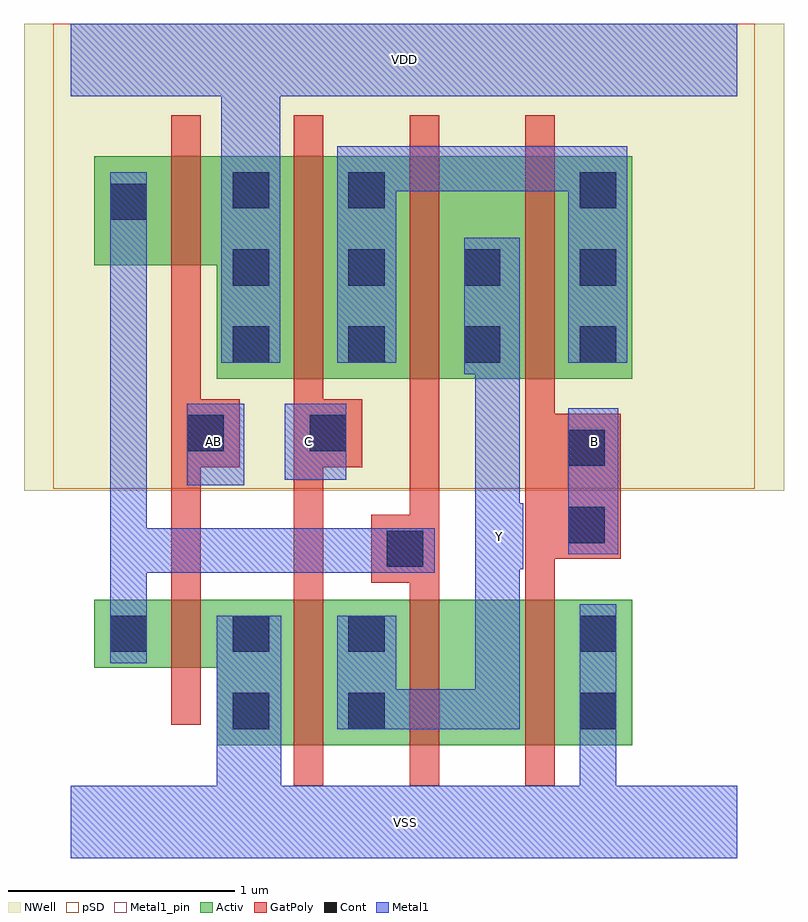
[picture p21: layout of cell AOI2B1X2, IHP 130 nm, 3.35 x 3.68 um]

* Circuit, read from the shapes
.subckt AOI2B1X2 AB B C VDD VSS Y
XM1 VSS AB n1 VSUBS sg13_lv_nmos w=0.3u l=0.13u
XM2 Y C VSS VSUBS sg13_lv_nmos w=0.64u l=0.13u
XM3 n2 n1 Y VSUBS sg13_lv_nmos w=0.64u l=0.13u
XM4 VSS B n2 VSUBS sg13_lv_nmos w=0.64u l=0.13u
XM5 VDD AB n1 n3 sg13_lv_pmos w=0.48u l=0.13u
XM6 n4 C VDD n3 sg13_lv_pmos w=0.98u l=0.13u
XM7 Y n1 n4 n3 sg13_lv_pmos w=0.98u l=0.13u
XM8 n4 B Y n3 sg13_lv_pmos w=0.98u l=0.13u
.ends

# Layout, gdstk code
import gdstk
lib = gdstk.Library(unit=1e-6, precision=1e-09)
def R(c, l, rs):  # rectangles x0, y0, x1, y1
    for r in rs: c.add(gdstk.rectangle(r[:2], r[2:], *l))
def A(c, l, x, y, w, h, nx, ny, dx, dy):  # array of equal rectangles
    R(c, l, [(x+i*dx, y+j*dy, x+i*dx+w, y+j*dy+h) for i in range(nx) for j in range(ny)])
def P(c, l, *ps):  # polygons
    for p in ps: c.add(gdstk.Polygon(p, *l))
Activ = (1, 0)
GatPoly = (5, 0)
Cont = (6, 0)
Metal1 = (8, 0)
Metal1_pin = (8, 2)
pSD = (14, 0)
NWell = (31, 0)

aoi2b1x2 = lib.new_cell('AOI2B1X2')
P(aoi2b1x2, Activ, [(0.645,0.34),(0.645,0.68),(0.105,0.68),(0.105,0.98),(2.475,0.98),(2.475,0.34)],
  [(0.645,1.955),(0.645,2.455),(0.105,2.455),(0.105,2.935),(2.475,2.935),(2.475,1.955)])
P(aoi2b1x2, GatPoly, [(2.005,0.16),(2.005,3.115),(2.135,3.115),(2.135,1.8),(2.425,1.8),(2.425,1.16),(2.135,1.16),(2.135,0.16)],
  [(0.985,0.16),(0.985,3.115),(1.115,3.115),(1.115,1.865),(1.285,1.865),(1.285,1.565),(1.115,1.565),(1.115,0.16)],
  [(0.445,0.43),(0.445,3.115),(0.575,3.115),(0.575,1.865),(0.745,1.865),(0.745,1.565),(0.575,1.565),(0.575,0.43)],
  [(1.495,0.16),(1.495,1.055),(1.325,1.055),(1.325,1.355),(1.495,1.355),(1.495,3.115),(1.625,3.115),(1.625,0.16)])
A(aoi2b1x2, Cont, 0.715, 2.025, 0.16, 0.16, 4, 2, 0.51, 0.34)
R(aoi2b1x2, Cont, [(0.715,0.41,0.875,0.57), (1.225,0.41,1.385,0.57), (2.245,0.41,2.405,0.57), (0.175,0.75,0.335,0.91), (0.715,0.75,0.875,0.91), (1.225,0.75,1.385,0.91), (2.245,0.75,2.405,0.91), (1.395,1.125,1.555,1.285), (2.195,1.23,2.355,1.39), (2.195,1.57,2.355,1.73), (0.515,1.635,0.675,1.795), (1.055,1.635,1.215,1.795), (0.175,2.655,0.335,2.815), (0.715,2.705,0.875,2.865), (1.225,2.705,1.385,2.865), (2.245,2.705,2.405,2.865)])
R(aoi2b1x2, Metal1, [(2.195,1.18,2.415,1.825), (0.515,1.485,0.765,1.845), (0.945,1.51,1.215,1.845)])
P(aoi2b1x2, Metal1, [(0,-0.16),(0,0.16),(0.645,0.16),(0.645,0.91),(0.93,0.91),(0.93,0.16),(2.245,0.16),(2.245,0.96),(2.405,0.96),(2.405,0.16),(2.94,0.16),(2.94,-0.16)],
  [(1.175,0.41),(1.175,0.91),(1.435,0.91),(1.435,0.585),(1.785,0.585),(1.785,1.975),(1.735,1.975),(1.735,2.575),(1.98,2.575),(1.98,1.405),(1.995,1.405),(1.995,1.115),(1.98,1.115),(1.98,0.41)],
  [(0.665,2.025),(0.665,3.2),(0,3.2),(0,3.52),(2.94,3.52),(2.94,3.2),(0.925,3.2),(0.925,2.025)],
  [(1.175,2.025),(1.175,2.98),(2.455,2.98),(2.455,2.025),(2.195,2.025),(2.195,2.78),(1.435,2.78),(1.435,2.025)],
  [(0.175,0.7),(0.175,2.865),(0.335,2.865),(0.335,1.295),(1.605,1.295),(1.605,1.1),(0.335,1.1),(0.335,0.7)])
R(aoi2b1x2, Metal1_pin, [(2.195,1.18,2.415,1.825), (0.515,1.485,0.765,1.845), (0.945,1.51,1.215,1.845)])
P(aoi2b1x2, Metal1_pin, [(0,-0.16),(0,0.16),(0.645,0.16),(0.645,0.91),(0.93,0.91),(0.93,0.16),(2.245,0.16),(2.245,0.96),(2.405,0.96),(2.405,0.16),(2.94,0.16),(2.94,-0.16)],
  [(1.175,0.41),(1.175,0.91),(1.435,0.91),(1.435,0.585),(1.785,0.585),(1.785,1.975),(1.735,1.975),(1.735,2.575),(1.98,2.575),(1.98,1.405),(1.995,1.405),(1.995,1.115),(1.98,1.115),(1.98,0.41)],
  [(0.665,2.025),(0.665,3.2),(0,3.2),(0,3.52),(2.94,3.52),(2.94,3.2),(0.925,3.2),(0.925,2.025)])
R(aoi2b1x2, pSD, [(-0.075,1.47,3.015,3.52)])
R(aoi2b1x2, NWell, [(-0.205,1.46,3.145,3.52)])
aoi2b1x2.add(gdstk.Label('C', (1.05,1.68), layer=8, texttype=25))
aoi2b1x2.add(gdstk.Label('AB', (0.63,1.68), layer=8, texttype=25))
aoi2b1x2.add(gdstk.Label('B', (2.31,1.68), layer=8, texttype=25))
aoi2b1x2.add(gdstk.Label('Y', (1.89,1.26), layer=8, texttype=25))
aoi2b1x2.add(gdstk.Label('VSS', (1.475,0), layer=8, texttype=25))
aoi2b1x2.add(gdstk.Label('VDD', (1.47,3.36), layer=8, texttype=25))

lib.write_gds('AOI2B1X2.gds')
